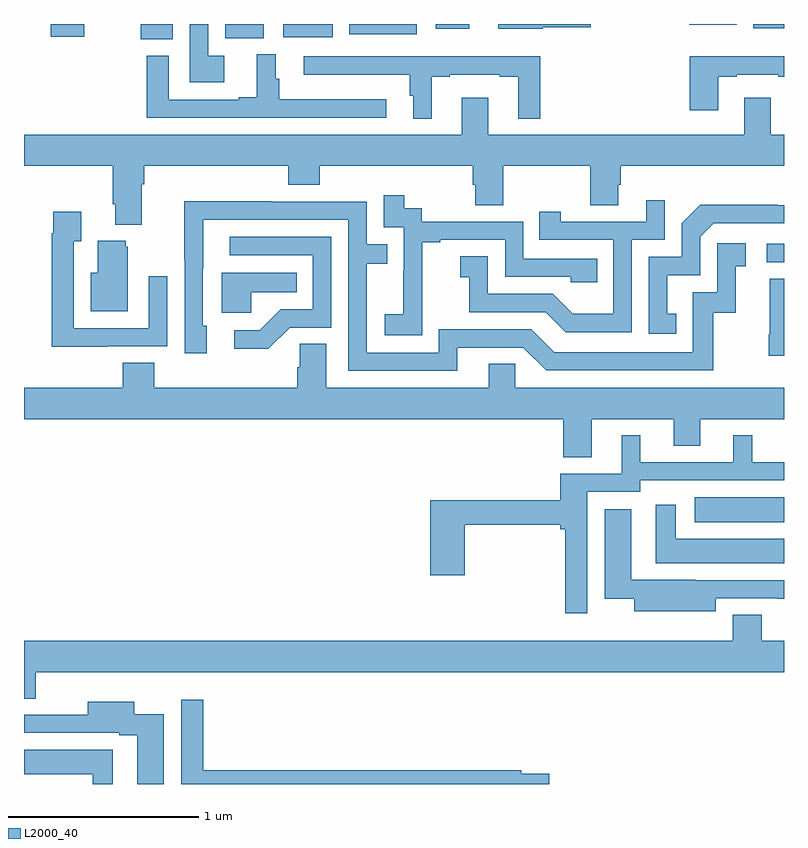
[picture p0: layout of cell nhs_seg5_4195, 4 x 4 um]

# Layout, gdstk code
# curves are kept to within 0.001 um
import gdstk
lib = gdstk.Library(unit=1e-6, precision=1e-09)
def R(c, l, rs):  # rectangles x0, y0, x1, y1
    for r in rs: c.add(gdstk.rectangle(r[:2], r[2:], *l))
def P(c, l, *ps):  # polygons
    for p in ps: c.add(gdstk.Polygon(p, *l))
L2000_40 = (2000, 40)

nhs_seg5_4195 = lib.new_cell('nhs_seg5_4195')
R(nhs_seg5_4195, L2000_40, [(360.531,896.177,361,896.308), (360.909,897.546,361,897.642), (357.614,898.718,357.784,898.799), (358.058,898.724,358.261,898.799), (358.364,898.73,358.624,898.799), (357.14,898.731,357.318,898.799), (358.712,898.745,359.068,898.799), (359.168,898.775,359.344,898.799), (360.839,898.776,361,898.799), (360.5,898.796,360.751,898.799)])
P(nhs_seg5_4195, L2000_40, [(358.054,898.633),(357.969,898.633),(357.969,898.799),(357.873,898.799),(357.873,898.493),(358.054,898.493)],
  [(359.73,898.781),(359.983,898.781),(359.983,898.799),(359.495,898.799),(359.495,898.775),(359.73,898.775)],
  [(358.906,898.402),(358.343,898.402),(358.343,898.512),(358.324,898.512),(358.324,898.639),(358.226,898.639),(358.226,898.414),(358.13,898.414),(358.13,898.401),(357.762,898.401),(357.762,898.633),(357.646,898.633),(357.646,898.305),(358.906,898.305)],
  [(360.655,898.521),(360.751,898.521),(360.751,898.533),(360.971,898.533),(360.971,898.521),(361,898.521),(361,898.63),(360.503,898.63),(360.503,898.344),(360.655,898.344)],
  [(359.146,898.521),(359.242,898.521),(359.242,898.533),(359.504,898.533),(359.504,898.521),(359.6,898.521),(359.6,898.301),(359.717,898.301),(359.717,898.63),(359.172,898.63),(359.172,898.629),(358.473,898.629),(358.473,898.532),(359.029,898.532),(359.029,898.422),(359.048,898.422),(359.048,898.301),(359.146,898.301)],
  [(357.619,897.956),(357.632,897.956),(357.632,898.052),(358.391,898.052),(358.391,897.953),(358.556,897.953),(358.556,898.052),(359.363,898.052),(359.363,897.954),(359.375,897.954),(359.375,897.844),(359.523,897.844),(359.523,898.052),(359.98,898.052),(359.98,897.844),(360.127,897.844),(360.127,897.954),(360.14,897.954),(360.14,898.052),(361,898.052),(361,898.216),(360.931,898.216),(360.931,898.411),(360.791,898.411),(360.791,898.216),(359.443,898.216),(359.443,898.411),(359.303,898.411),(359.303,898.216),(357,898.216),(357,898.052),(357.467,898.052),(357.467,897.85),(357.479,897.85),(357.479,897.743),(357.619,897.743)],
  [(359.097,897.367),(359.096,897.367),(359.096,897.651),(359.191,897.651),(359.191,897.663),(359.532,897.663),(359.532,897.468),(359.877,897.468),(359.877,897.441),(360.017,897.441),(360.017,897.564),(359.628,897.564),(359.628,897.759),(359.094,897.759),(359.094,897.828),(359.002,897.828),(359.002,897.898),(358.893,897.898),(358.893,897.729),(358.998,897.729),(358.998,897.5),(358.997,897.5),(358.997,897.271),(358.899,897.271),(358.899,897.161),(359.097,897.161)],
  [(360.198,897.663),(360.372,897.663),(360.372,897.871),(360.275,897.871),(360.275,897.759),(359.824,897.759),(359.824,897.811),(359.713,897.811),(359.713,897.663),(360.102,897.663),(360.102,897.274),(359.888,897.274),(359.784,897.378),(359.442,897.378),(359.442,897.577),(359.295,897.577),(359.295,897.467),(359.344,897.467),(359.344,897.282),(359.747,897.282),(359.852,897.177),(360.198,897.177)],
  [(359.281,897.096),(359.628,897.096),(359.748,896.976),(360.628,896.976),(360.628,897.279),(360.746,897.279),(360.746,897.525),(360.799,897.525),(360.799,897.646),(360.648,897.646),(360.648,897.387),(360.519,897.387),(360.519,897.072),(359.79,897.072),(359.67,897.192),(359.184,897.192),(359.184,897.069),(358.803,897.069),(358.803,897.538),(358.913,897.538),(358.913,897.639),(358.803,897.639),(358.803,897.864),(358.307,897.864),(358.307,897.866),(357.844,897.866),(357.844,897.559),(357.846,897.559),(357.846,897.066),(357.961,897.066),(357.961,897.21),(357.942,897.21),(357.943,897.768),(358.707,897.768),(358.707,896.973),(359.281,896.973)],
  [(360.434,897.273),(360.385,897.273),(360.385,897.477),(360.558,897.477),(360.558,897.678),(360.63,897.75),(361,897.75),(361,897.846),(360.968,897.846),(360.968,897.848),(360.56,897.848),(360.462,897.75),(360.462,897.573),(360.288,897.573),(360.288,897.168),(360.434,897.168)],
  [(357.437,897.102),(357.753,897.102),(357.753,897.472),(357.657,897.472),(357.657,897.198),(357.261,897.198),(357.261,897.655),(357.301,897.655),(357.301,897.811),(357.153,897.811),(357.153,897.698),(357.145,897.698),(357.145,897.101),(357.437,897.101)],
  [(358.398,897.201),(358.617,897.201),(358.617,897.678),(358.083,897.678),(358.083,897.582),(358.521,897.582),(358.521,897.297),(358.352,897.297),(358.241,897.186),(358.107,897.186),(358.107,897.089),(358.285,897.089)],
  [(357.547,897.627),(357.536,897.627),(357.536,897.658),(357.389,897.658),(357.389,897.49),(357.35,897.49),(357.35,897.287),(357.547,897.287)],
  [(358.197,897.386),(358.436,897.386),(358.436,897.49),(358.04,897.49),(358.04,897.278),(358.197,897.278)],
  [(361,897.457),(360.926,897.457),(360.926,897.166),(360.919,897.166),(360.919,897.054),(361,897.054)],
  [(359.989,896.72),(360.419,896.72),(360.419,896.578),(360.559,896.578),(360.559,896.72),(361,896.72),(361,896.884),(359.586,896.884),(359.586,897.011),(359.447,897.011),(359.447,896.884),(358.591,896.884),(358.591,897.116),(358.452,897.116),(358.452,896.993),(358.439,896.993),(358.439,896.884),(357.686,896.884),(357.686,897.017),(357.521,897.017),(357.521,896.884),(357,896.884),(357,896.72),(359.837,896.72),(359.837,896.518),(359.989,896.518)],
  [(359.964,896.337),(360.243,896.337),(360.243,896.397),(361,896.397),(361,896.493),(360.832,896.493),(360.832,896.635),(360.734,896.635),(360.734,896.493),(360.244,896.493),(360.244,896.635),(360.146,896.635),(360.146,896.433),(359.822,896.433),(359.822,896.293),(359.138,896.293),(359.138,895.899),(359.321,895.899),(359.321,896.164),(359.822,896.164),(359.822,896.141),(359.848,896.141),(359.848,895.698),(359.964,895.698)],
  [(361,896.089),(360.43,896.089),(360.43,896.269),(360.326,896.269),(360.326,895.961),(361,895.961)],
  [(360.64,895.776),(360.967,895.776),(360.967,895.774),(361,895.774),(361,895.872),(360.536,895.872),(360.536,895.873),(360.196,895.873),(360.196,896.245),(360.056,896.245),(360.056,895.774),(360.212,895.774),(360.212,895.709),(360.64,895.709)],
  [(357.061,895.388),(361,895.388),(361,895.552),(360.884,895.552),(360.884,895.691),(360.731,895.691),(360.731,895.552),(357,895.552),(357,895.249),(357.061,895.249)],
  [(359.765,894.852),(359.618,894.852),(359.618,894.872),(357.944,894.872),(357.944,895.243),(357.828,895.243),(357.828,894.799),(359.765,894.799)],
  [(357.736,895.167),(357.58,895.167),(357.58,895.231),(357.335,895.231),(357.335,895.164),(357,895.164),(357,895.068),(357.5,895.068),(357.5,895.056),(357.596,895.056),(357.596,894.799),(357.736,894.799)],
  [(357.466,894.979),(357,894.979),(357,894.851),(357.362,894.851),(357.362,894.799),(357.466,894.799)])

lib.write_gds('nhs_seg5_4195.gds')
